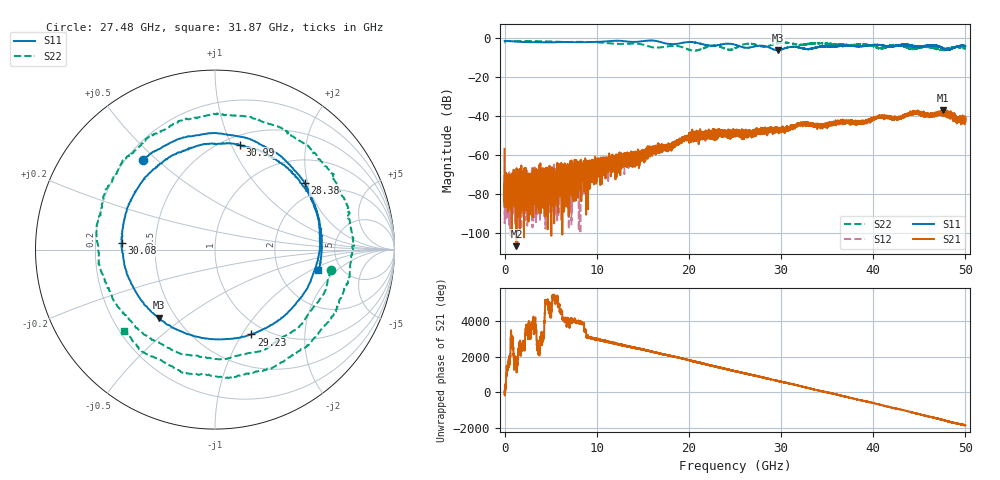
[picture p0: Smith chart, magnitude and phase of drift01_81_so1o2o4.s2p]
!Created with skrf (http://scikit-rf.org).
# Hz S RI R 50.0
!freq ReS11 ImS11 ReS21 ImS21 ReS12 ImS12 ReS22 ImS22
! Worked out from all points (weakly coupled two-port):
!   10001 points, 300 kHz to 50 GHz, reference 50 ohm
!   highest |S21| = -36.78 dB at 47.56 GHz (marker M1); lowest = -106.5 dB at 1.28 GHz (marker M2)
!   lowest |S11| = -6.2 dB at 29.68 GHz (marker M3), VSWR 2.94, Z = 20.3 - j20.3 ohm
!   |S11| at or under -10 dB: nowhere
!   |S22| runs from -6.4 to -1.4 dB; largest |S21 - S12| = 0.004
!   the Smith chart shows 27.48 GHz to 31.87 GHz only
!   S11 on the Smith chart (normalised r, x): 27.48 GHz: 0.27, +0.45; 28.38 GHz: 1.57, +1.91; 29.23 GHz: 0.86, -1.10; 30.08 GHz: 0.31, +0.03; 30.99 GHz: 0.59, +1.08; 31.87 GHz: 3.38, -1.18
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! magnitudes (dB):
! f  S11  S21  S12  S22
! 300 kHz  -1.3  -56.6  -60.3  -2.1
! 255.3 MHz  -1.4  -76.6  -75.8  -1.4
! 1.28 GHz  -1.7  -106.5  -73.0  -1.4
! 5.77 GHz  -2.0  -78.1  -79.2  -1.8
! 8.335 GHz  -2.0  -66.1  -66.1  -1.8
! 10.62 GHz  -1.7  -64.9  -61.9  -2.2
! 14.09 GHz  -1.8  -61.7  -61.6  -2.7
! 16.67 GHz  -1.6  -56.0  -57.3  -4.8
! 20.18 GHz  -1.9  -48.6  -50.0  -6.0
! 22.62 GHz  -3.8  -47.9  -48.8  -3.8
! 25 GHz  -3.3  -49.1  -48.9  -5.0
! 27.48 GHz  -3.9  -48.5  -47.2  -3.7
! 28.38 GHz  -4.1  -46.8  -47.9  -4.2
! 29.23 GHz  -5.8  -47.0  -48.0  -2.9
! 29.68 GHz  -6.2  -47.1  -46.4  -2.4
! 30.08 GHz  -5.7  -45.3  -47.2  -2.3
! 30.99 GHz  -4.4  -46.1  -45.9  -2.5
! 31.87 GHz  -4.6  -44.5  -44.2  -3.3
! 33.34 GHz  -5.2  -44.2  -44.4  -2.7
! 41.67 GHz  -4.4  -40.1  -40.5  -3.9
! 47.56 GHz  -5.1  -36.8  -38.3  -5.8
! 50 GHz  -3.9  -41.3  -41.9  -5.2
